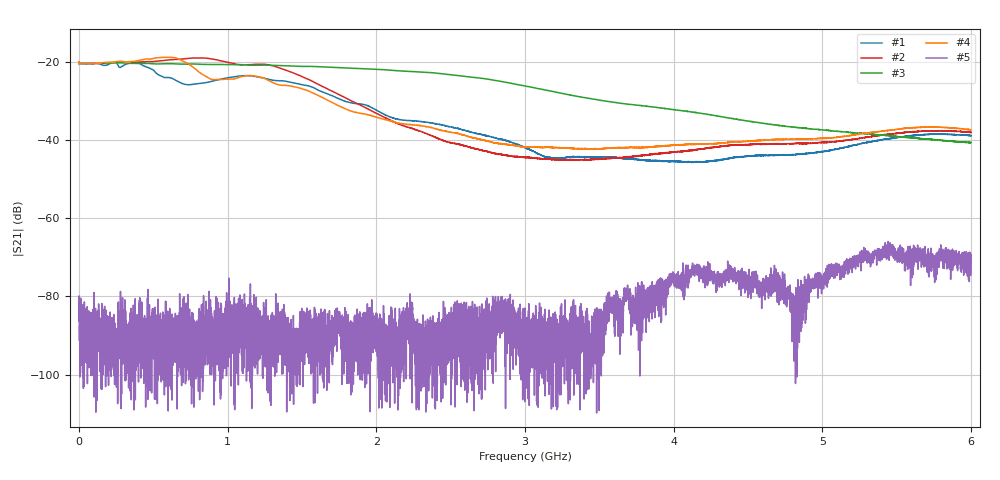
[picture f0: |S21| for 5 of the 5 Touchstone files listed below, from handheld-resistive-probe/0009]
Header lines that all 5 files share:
! Ref Plane: 0.000 mm
# MHZ S MA R  50
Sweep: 300 kHz to 6 GHz
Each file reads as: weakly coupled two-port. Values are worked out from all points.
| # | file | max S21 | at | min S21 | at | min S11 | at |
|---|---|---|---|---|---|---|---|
| 1 | flexground.s2p | -20.03 dB | 240.3 MHz | -45.8 dB | 4.134 GHz | -26.4 dB | 900 kHz |
| 2 | leafground.s2p | -18.99 dB | 789.3 MHz | -45.2 dB | 3.328 GHz | -26.5 dB | 300 kHz |
| 3 | tipground.s2p | -20.11 dB | 300 kHz | -40.7 dB | 5.996 GHz | -26.4 dB | 900 kHz |
| 4 | zground.s2p | -18.82 dB | 602.1 MHz | -42.4 dB | 3.497 GHz | -26.4 dB | 900 kHz |
| 5 | zin.s2p | -65.96 dB | 5.442 GHz | -109.8 dB | 3.482 GHz | -5.5 dB | 2.669 GHz |
